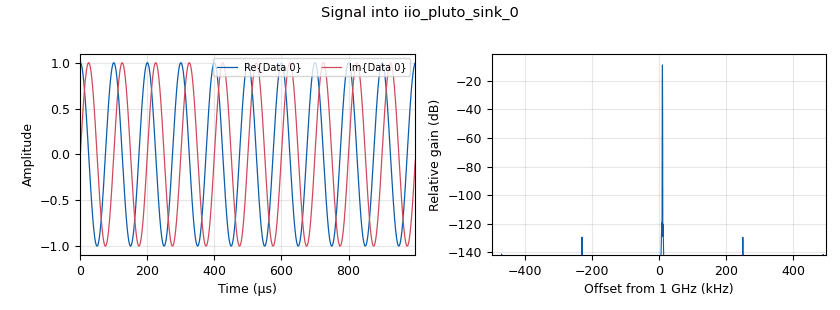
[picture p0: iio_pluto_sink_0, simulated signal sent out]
options:
  parameters:
    generate_options: qt_gui
    id: plutosdr
    output_language: python
    title: Not titled yet
  states: {}

blocks:
- name: samp_rate
  id: variable
  parameters:
    value: '1000000'
  states: {}
- name: analog_sig_source_x_0
  id: analog_sig_source_x
  parameters:
    amp: '1'
    freq: '10000'
    offset: '0'
    phase: '0'
    samp_rate: samp_rate
    type: complex
    waveform: analog.GR_COS_WAVE
  states: {}
- name: iio_pluto_sink_0
  id: iio_pluto_sink
  parameters:
    attenuation1: '10.0'
    bandwidth: '1000000'
    buffer_size: '32768'
    cyclic: 'True'
    filter_source: '''Auto'''
    frequency: '1000000000'
    samplerate: samp_rate
    type: fc32
    uri: 192.168.2.1
  states: {}
- name: iio_pluto_source_0
  id: iio_pluto_source
  parameters:
    bandwidth: '1000000'
    bbdc: 'False'
    buffer_size: '32768'
    filter_source: '''Auto'''
    frequency: '1000000000'
    gain1: '''manual'''
    manual_gain1: '10'
    quadrature: 'True'
    rfdc: 'False'
    samplerate: samp_rate
    type: fc32
    uri: 192.168.2.1
  states: {}
- name: qtgui_freq_sink_x_0
  id: qtgui_freq_sink_x
  parameters:
    bw: samp_rate
    fc: '0'
    fftsize: '1024'
    type: complex
  states: {}
- name: qtgui_time_sink_x_0
  id: qtgui_time_sink_x
  parameters:
    size: '1024'
    srate: samp_rate
    type: complex
  states: {}

connections:
- [analog_sig_source_x_0, '0', iio_pluto_sink_0, '0']
- [iio_pluto_source_0, '0', qtgui_freq_sink_x_0, '0']
- [iio_pluto_source_0, '0', qtgui_time_sink_x_0, '0']

metadata:
  file_format: 1
  grc_version: 3.10.9.2
